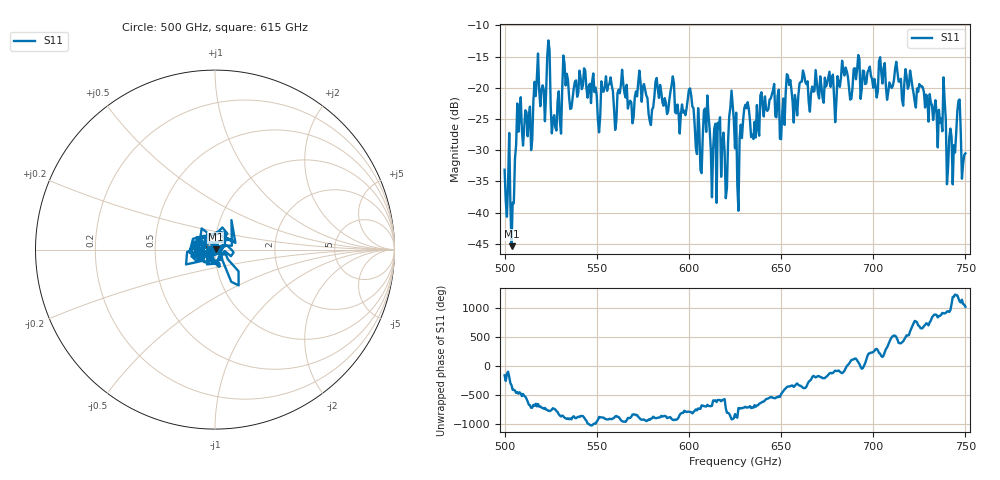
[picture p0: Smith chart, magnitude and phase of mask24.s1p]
!Created with skrf (http://scikit-rf.org).
# GHz S MA R 50.0
!freq magS11 angS11
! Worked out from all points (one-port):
!   401 points, 500 GHz to 750 GHz, reference 50 ohm
!   lowest |S11| = -45.4 dB at 503.8 GHz (marker M1), VSWR 1.01, Z = 50.5 + j0.212 ohm
!   |S11| at or under -10 dB: start of sweep to end of sweep
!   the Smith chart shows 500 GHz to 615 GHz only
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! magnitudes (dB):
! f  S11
! 500 GHz  -33.1
! 503.8 GHz  -45.4
! 507.5 GHz  -27.0
! 513.8 GHz  -23.0
! 516.9 GHz  -21.3
! 523.8 GHz  -12.4
! 526.9 GHz  -24.4
! 531.2 GHz  -20.3
! 562.5 GHz  -20.9
! 590.6 GHz  -19.6
! 593.8 GHz  -22.7
! 600.6 GHz  -20.1
! 605.6 GHz  -26.6
! 609.4 GHz  -27.1
! 613.8 GHz  -26.6
! 620.6 GHz  -36.0
! 623.1 GHz  -20.5
! 625 GHz  -29.7
! 627.5 GHz  -28.1
! 631.2 GHz  -23.3
! 635 GHz  -28.2
! 656.2 GHz  -22.3
! 687.5 GHz  -21.9
! 718.8 GHz  -20.2
! 738.1 GHz  -18.3
! 741.2 GHz  -28.0
! 746.2 GHz  -22.1
! 750 GHz  -30.5
